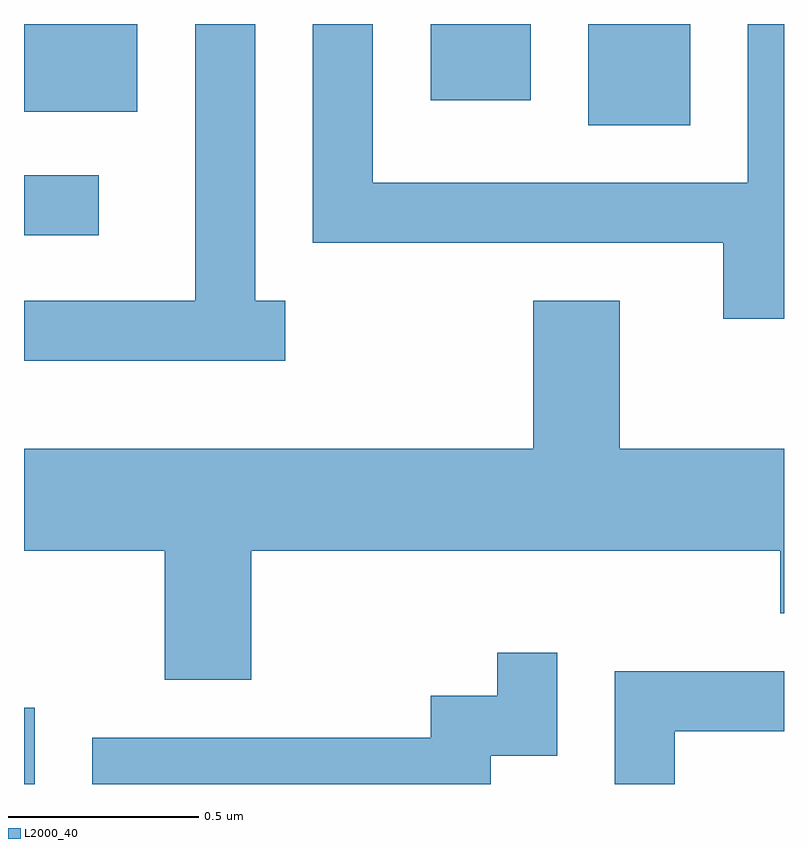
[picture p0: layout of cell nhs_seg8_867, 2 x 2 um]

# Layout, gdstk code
import gdstk
lib = gdstk.Library(unit=1e-6, precision=1e-09)
def R(c, l, rs):  # rectangles x0, y0, x1, y1
    for r in rs: c.add(gdstk.rectangle(r[:2], r[2:], *l))
def P(c, l, *ps):  # polygons
    for p in ps: c.add(gdstk.Polygon(p, *l))
L2000_40 = (2000, 40)

nhs_seg8_867 = lib.new_cell('nhs_seg8_867')
R(nhs_seg8_867, L2000_40, [(191.611,1851.342,191.639,1851.543), (191.611,1852.786,191.808,1852.944), (193.096,1853.076,193.364,1853.342), (191.611,1853.111,191.909,1853.342), (192.681,1853.141,192.944,1853.342)])
P(nhs_seg8_867, L2000_40, [(193.611,1853.342),(193.516,1853.342),(193.516,1852.924),(192.529,1852.924),(192.529,1853.342),(192.371,1853.342),(192.371,1852.766),(193.451,1852.766),(193.451,1852.566),(193.611,1852.566)],
  [(192.298,1852.614),(192.219,1852.614),(192.219,1853.342),(192.061,1853.342),(192.061,1852.614),(191.611,1852.614),(191.611,1852.456),(192.298,1852.456)],
  [(192.209,1851.956),(193.601,1851.956),(193.601,1851.791),(193.611,1851.791),(193.611,1852.224),(193.179,1852.224),(193.179,1852.614),(192.951,1852.614),(192.951,1852.224),(191.611,1852.224),(191.611,1851.956),(191.981,1851.956),(191.981,1851.616),(192.209,1851.616)],
  [(192.839,1851.416),(193.014,1851.416),(193.014,1851.688),(192.856,1851.688),(192.856,1851.574),(192.681,1851.574),(192.681,1851.464),(191.791,1851.464),(191.791,1851.342),(192.839,1851.342)],
  [(193.324,1851.481),(193.611,1851.481),(193.611,1851.639),(193.166,1851.639),(193.166,1851.342),(193.324,1851.342)])

lib.write_gds('nhs_seg8_867.gds')
